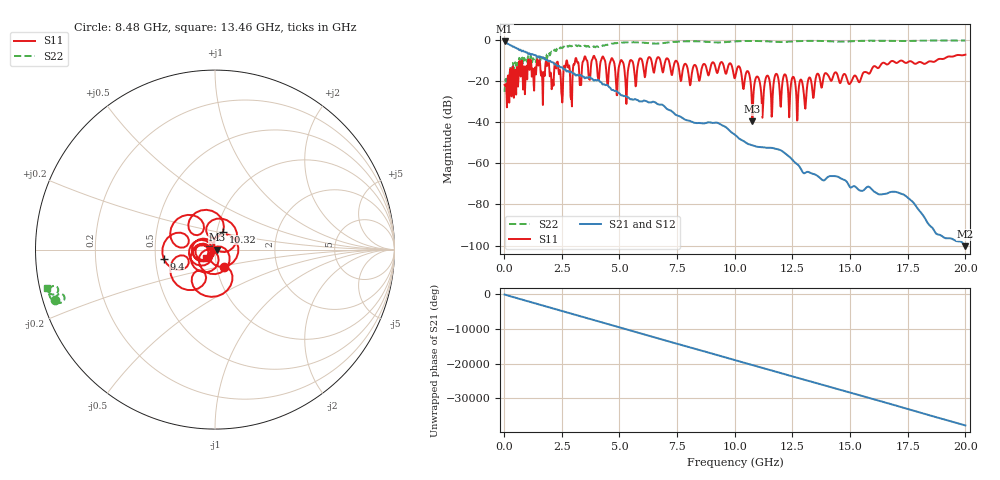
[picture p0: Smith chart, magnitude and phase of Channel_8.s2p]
! Created Sun Jun 24 21:06:15 2012
# hz S ma R 100
! 2 Port Network Data from SP1.SP block
! freq  magS11  angS11  magS21  angS21  magS12  angS12  magS22  angS22
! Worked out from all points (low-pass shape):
!   1000 points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, 20 MHz to 20 GHz, reference 100 ohm
!   highest |S21| = -0.60 dB at 20 MHz (marker M1); lowest = -100.3 dB at 20 GHz (marker M2)
!   |S21| within 3 dB of the highest: start of sweep to 468.4 MHz
!   lowest |S11| = -39.4 dB at 10.76 GHz (marker M3), VSWR 1.02, Z = 102 - j0.203 ohm
!   |S11| at or under -10 dB: 1.543 GHz to 2.703 GHz (1.16 GHz wide, 54.6 % of centre); 7.142 GHz to 17.18 GHz (10.03 GHz wide, 82.5 % of centre); 17.26 GHz to 18.73 GHz (1.47 GHz wide, 8.17 % of centre)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
!   |S22| runs from -27.1 to -0.1 dB; largest |S21 - S12| = 0.0002
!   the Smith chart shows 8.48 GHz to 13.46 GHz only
!   S11 on the Smith chart (normalised r, x): 8.48 GHz: 1.09, -0.21; 9.4 GHz: 0.55, -0.06; 10.32 GHz: 1.07, +0.22; 13.46 GHz: 0.90, -0.09
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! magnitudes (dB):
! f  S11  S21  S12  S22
! 20 MHz  -21.8  -0.6  -0.6  -25.1
! 680 MHz  -11.2  -4.8  -4.8  -9.7
! 3.36 GHz  -16.3  -17.4  -17.4  -2.6
! 4.28 GHz  -7.9  -21.6  -21.6  -2.5
! 5.3 GHz  -31.0  -27.4  -27.4  -1.0
! 5.5 GHz  -9.7  -28.8  -28.8  -1.0
! 6.68 GHz  -8.3  -31.2  -31.2  -1.6
! 8.48 GHz  -19.3  -40.4  -40.4  -0.6
! 9.4 GHz  -10.8  -41.2  -41.2  -1.1
! 10.02 GHz  -18.0  -46.2  -46.2  -0.6
! 10.32 GHz  -19.2  -48.7  -48.8  -0.4
! 10.58 GHz  -15.2  -50.5  -50.6  -0.4
! 10.76 GHz  -39.4  -51.2  -51.2  -0.4
! 10.98 GHz  -17.7  -51.9  -51.9  -0.4
! 11.2 GHz  -37.8  -52.1  -52.1  -0.5
! 11.4 GHz  -17.3  -52.4  -52.4  -0.5
! 11.6 GHz  -37.3  -52.4  -52.4  -0.7
! 11.8 GHz  -16.4  -53.0  -53.0  -0.8
! 13.34 GHz  -21.8  -65.0  -65.0  -0.3
! 13.46 GHz  -22.8  -65.3  -65.3  -0.3
! 16.68 GHz  -11.4  -74.3  -74.3  -0.4
! 20 GHz  -7.0  -100.3  -100.4  -0.2
